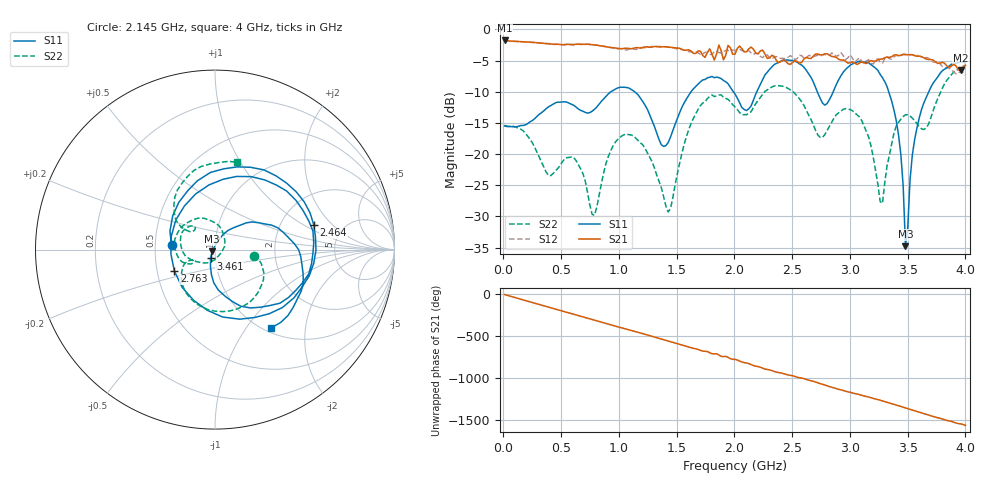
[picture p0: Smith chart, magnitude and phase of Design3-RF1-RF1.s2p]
! 9/28/2016 12:19:03 PM
! C:\USERS\ANRITSUUSER\DESKTOP\SWITCHES\DESIGN3-RF1-RF1.S2P
! CHANNEL.1
! TR.MEASUREMENT
! CORRECTED.DATA
# GHZ S RI R 50.0
! FREQ.GHZ  S11RE  S11IM  S21RE  S21IM  S12RE  S12IM  S22RE  S22IM
!; PortSelection: Port_12
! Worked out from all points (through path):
!   201 points, 10 MHz to 4 GHz, reference 50 ohm
!   highest |S21| = -1.78 dB at 10 MHz (marker M1); lowest = -6.5 dB at 3.96 GHz (marker M2)
!   group delay of S21, straight-line fit = 1.08 ns
!   lowest |S11| = -34.8 dB at 3.481 GHz (marker M3), VSWR 1.04, Z = 48.5 - j0.915 ohm
!   |S11| at or under -10 dB: start of sweep to 930.4 MHz; 1.135 GHz to 1.625 GHz (489.6 MHz wide, 35.5 % of centre); 3.336 GHz to 3.684 GHz (347.9 MHz wide, 9.91 % of centre)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
!   |S22| runs from -29.8 to -6.0 dB; largest |S21 - S12| = 0.11
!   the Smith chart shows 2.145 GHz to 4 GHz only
!   S11 on the Smith chart (normalised r, x): 2.145 GHz: 0.61, +0.03; 2.464 GHz: 3.08, +1.23; 2.763 GHz: 0.62, -0.16; 3.461 GHz: 0.95, -0.09; 4 GHz: 1.08, -1.32
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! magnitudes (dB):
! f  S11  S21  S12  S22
! 10 MHz  -15.5  -1.8  -1.8  -15.4
! 688.3 MHz  -13.1  -2.4  -2.4  -23.1
! 788 MHz  -12.8  -2.5  -2.5  -29.8
! 907.8 MHz  -10.4  -2.9  -2.8  -20.4
! 1.067 GHz  -9.3  -3.0  -3.3  -16.8
! 1.347 GHz  -17.6  -2.8  -2.8  -24.4
! 1.426 GHz  -18.2  -2.8  -2.9  -29.3
! 1.706 GHz  -8.4  -3.5  -4.0  -12.2
! 2.005 GHz  -10.4  -4.0  -3.3  -12.4
! 2.145 GHz  -12.3  -2.8  -3.8  -13.2
! 2.464 GHz  -4.9  -5.5  -4.5  -9.5
! 2.683 GHz  -8.4  -4.3  -4.4  -15.3
! 2.763 GHz  -11.8  -4.1  -4.2  -17.3
! 3.082 GHz  -5.1  -5.4  -4.6  -14.0
! 3.282 GHz  -7.8  -4.8  -5.4  -27.9
! 3.342 GHz  -10.3  -4.5  -4.7  -20.2
! 3.461 GHz  -25.2  -4.0  -4.1  -14.0
! 3.481 GHz  -34.8  -4.0  -4.1  -13.7
! 3.541 GHz  -20.1  -4.1  -4.1  -14.3
! 3.621 GHz  -12.8  -4.4  -4.5  -16.0
! 3.96 GHz  -5.2  -6.5  -6.7  -6.3
! 4 GHz  -5.4  -5.8  -7.3  -6.0
